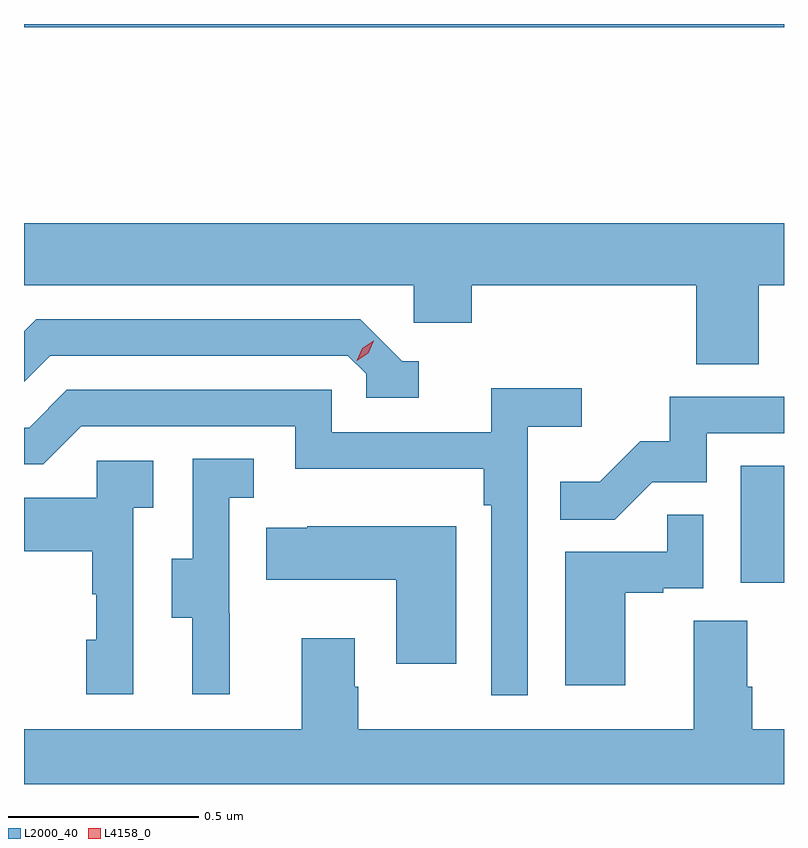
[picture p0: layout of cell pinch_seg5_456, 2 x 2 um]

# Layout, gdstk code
import gdstk
lib = gdstk.Library(unit=1e-6, precision=1e-09)
def R(c, l, rs):  # rectangles x0, y0, x1, y1
    for r in rs: c.add(gdstk.rectangle(r[:2], r[2:], *l))
def P(c, l, *ps):  # polygons
    for p in ps: c.add(gdstk.Polygon(p, *l))
L2000_40 = (2000, 40)
L4158_0 = (4158, 0)

pinch_seg5_456 = lib.new_cell('pinch_seg5_456')
R(pinch_seg5_456, L2000_40, [(918.164,870.63,918.278,870.937), (916.278,872.092,918.278,872.1)])
P(pinch_seg5_456, L2000_40, [(918.212,871.412),(918.278,871.412),(918.278,871.576),(916.278,871.576),(916.278,871.412),(917.304,871.412),(917.304,871.314),(917.456,871.314),(917.456,871.412),(918.047,871.412),(918.047,871.204),(918.212,871.204)],
  [(917.317,871.212),(917.274,871.212),(917.163,871.323),(916.31,871.323),(916.278,871.291),(916.278,871.158),(916.347,871.227),(917.13,871.227),(917.178,871.179),(917.178,871.116),(917.317,871.116)],
  [(917.604,871.04),(917.746,871.04),(917.746,871.142),(917.507,871.142),(917.507,871.026),(917.088,871.026),(917.088,871.137),(916.391,871.137),(916.292,871.038),(916.278,871.038),(916.278,870.942),(916.329,870.942),(916.428,871.041),(916.992,871.041),(916.992,870.929),(917.488,870.929),(917.488,870.833),(917.508,870.833),(917.508,870.333),(917.604,870.333)],
  [(917.931,870.894),(918.075,870.894),(918.075,871.023),(918.278,871.023),(918.278,871.119),(917.977,871.119),(917.977,871.002),(917.9,871.002),(917.793,870.895),(917.689,870.895),(917.689,870.796),(917.833,870.796)],
  [(916.82,870.549),(916.818,870.549),(916.818,870.853),(916.882,870.853),(916.882,870.956),(916.722,870.956),(916.722,870.693),(916.667,870.693),(916.667,870.538),(916.721,870.538),(916.721,870.336),(916.82,870.336)],
  [(916.566,870.827),(916.618,870.827),(916.618,870.951),(916.47,870.951),(916.47,870.853),(916.278,870.853),(916.278,870.713),(916.458,870.713),(916.458,870.599),(916.468,870.599),(916.468,870.48),(916.442,870.48),(916.442,870.336),(916.566,870.336)],
  [(917.86,870.603),(917.96,870.603),(917.96,870.615),(918.066,870.615),(918.066,870.809),(917.971,870.809),(917.971,870.711),(917.702,870.711),(917.702,870.36),(917.86,870.36)],
  [(917.416,870.778),(917.023,870.778),(917.023,870.775),(916.915,870.775),(916.915,870.638),(917.258,870.638),(917.258,870.417),(917.416,870.417)],
  [(918.278,870.244),(918.194,870.244),(918.194,870.356),(918.181,870.356),(918.181,870.53),(918.041,870.53),(918.041,870.244),(917.157,870.244),(917.157,870.356),(917.149,870.356),(917.149,870.484),(917.009,870.484),(917.009,870.244),(916.278,870.244),(916.278,870.1),(918.278,870.1)])
P(pinch_seg5_456, L4158_0, [(917.153,871.214),(917.153,871.214),(917.168,871.247),(917.199,871.267),(917.199,871.267),(917.199,871.267),(917.184,871.234),(917.153,871.214)])

lib.write_gds('pinch_seg5_456.gds')
